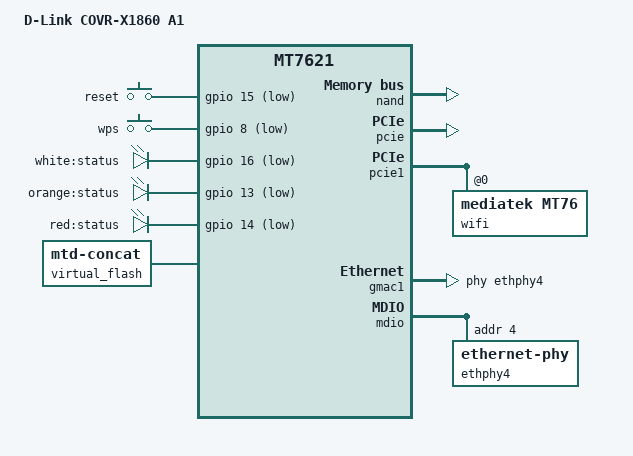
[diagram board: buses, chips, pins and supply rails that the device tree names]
// SPDX-License-Identifier: GPL-2.0-or-later OR MIT

#include "mt7621.dtsi"

#include <dt-bindings/gpio/gpio.h>
#include <dt-bindings/input/input.h>

/ {
	compatible = "dlink,covr-x1860-a1", "mediatek,mt7621-soc";
	model = "D-Link COVR-X1860 A1";

	aliases {
		led-boot = &status_orange;
		led-failsafe = &status_red;
		led-running = &status_white;
		led-upgrade = &status_red;
	};

	chosen {
		bootargs = "console=ttyS0,115200";
	};

	keys {
		compatible = "gpio-keys";

		reset {
			label = "reset";
			linux,code = <KEY_RESTART>;
			gpios = <&gpio 15 GPIO_ACTIVE_LOW>;
		};

		wps {
			label = "wps";
			linux,code = <KEY_WPS_BUTTON>;
			gpios = <&gpio 8 GPIO_ACTIVE_LOW>;
		};
	};

	leds {
		compatible = "gpio-leds";

		status_white: power {
			label = "white:status";
			gpios = <&gpio 16 GPIO_ACTIVE_LOW>;
		};

		status_orange: status_orange {
			label = "orange:status";
			gpios = <&gpio 13 GPIO_ACTIVE_LOW>;
			default-state = "on";
		};

		status_red: status_red {
			label = "red:status";
			gpios = <&gpio 14 GPIO_ACTIVE_LOW>;
		};
	};

	virtual_flash {
		compatible = "mtd-concat";

		devices = <&fwconcat0 &fwconcat1>;

		partitions {
			compatible = "fixed-partitions";
			#address-cells = <1>;
			#size-cells = <1>;

			partition@0 {
				label = "ubi";
				reg = <0x0 0x0>;
			};
		};
	};
};

&nand {
	status = "okay";

	partitions {
		compatible = "fixed-partitions";
		#address-cells = <1>;
		#size-cells = <1>;

		partition@0 {
			label = "bootloader";
			reg = <0x0 0x80000>;
			read-only;
		};

		partition@80000 {
			label = "config";
			reg = <0x80000 0x80000>;
			read-only;
		};

		factory: partition@100000 {
			label = "factory";
			reg = <0x100000 0x80000>;
			read-only;
		};

		partition@180000 {
			label = "config2";
			reg = <0x180000 0x40000>;
			read-only;
		};

		partition@1c0000 {
			label = "kernel";
			reg = <0x1c0000 0x800000>;
		};

		fwconcat0: partition@9c0000 {
			label = "fwconcat0";
			reg = <0x9c0000 0x2000000>;
		};

		partition@29c0000 {
			label = "kernel2";
			reg = <0x29c0000 0x800000>;
			read-only;
		};

		fwconcat1: partition@31c0000 {
			label = "fwconcat1";
			reg = <0x31c0000 0x2a00000>;
		};

		partition@5bc0000 {
			label = "private";
			reg = <0x5bc0000 0x1400000>;
			read-only;
		};

		partition@6fc0000 {
			label = "mydlink";
			reg = <0x6fc0000 0x600000>;
			read-only;
		};

		partition@75c0000 {
			label = "myconfig";
			reg = <0x75c0000 0xa00000>;
			read-only;
		};
	};
};

&pcie {
	status = "okay";
};

&pcie1 {
	wifi@0,0 {
		compatible = "mediatek,mt76";
		reg = <0x0000 0 0 0 0>;
		mediatek,mtd-eeprom = <&factory 0x0>;
		mediatek,disable-radar-background;
	};
};

&gmac1 {
	status = "okay";
	phy-handle = <&ethphy4>;
};

&mdio {
	ethphy4: ethernet-phy@4 {
		reg = <4>;
	};
};

&switch0 {
	ports {
		port@0 {
			status = "okay";
			label = "internet";
		};

		port@2 {
			status = "okay";
			label = "ethernet";
		};
	};
};
